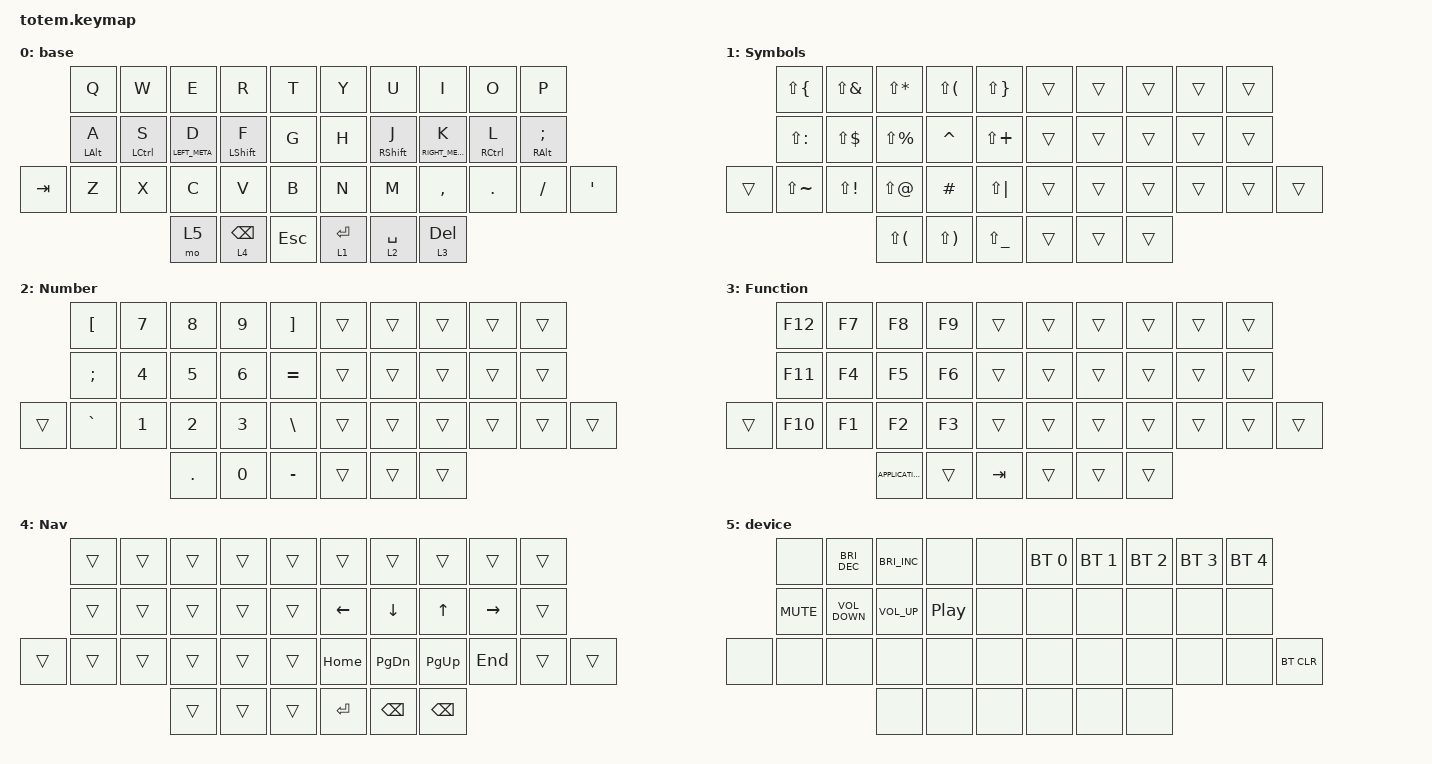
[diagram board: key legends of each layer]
//
//                                                        ▀▀▀▀▀     ▀▀▀▀▀          ▀▀█▀▀
//                                                        ▄▀▀▀▄  ▄  ▄▀▀▀▄  ▄  ▄▀▀▀▄  █  ▄▀▀▀▄
//                                                        █   █  █  █   █  █  █   █  █  █   █
//                                                         ▀▀▀   █   ▀▀▀   █   ▀▀▀   ▀   ▀▀▀
//                                                               █      ▄▄▄█▄▄▄    █   █  
//                                                               ▀      █  █  █     █▄█
//                                                             ▀▀▀▀▀    █  █  █      ▀
//                                                                      ▀  ▀  ▀
//
// ▄▄▄▄▄▄▄▄▄▄▄▄▄▄▄▄▄▄▄▄▄▄▄▄▄▄▄▄▄▄▄▄▄▄▄▄▄▄▄▄▄▄▄▄▄▄▄▄▄▄▄▄▄▄▄▄▄▄▄▄▄▄▄▄▄▄▄▄▄▄▄▄▄▄▄▄▄▄▄▄▄▄▄▄▄▄▄▄▄▄▄▄▄▄▄▄▄▄▄▄▄▄▄▄▄▄▄▄▄▄▄▄▄▄▄▄▄▄▄▄▄▄▄▄▄▄▄▄▄▄▄▄▄▄▄▄▄▄▄▄▄▄▄▄▄▄▄▄▄

#include <behaviors.dtsi>
#include <dt-bindings/zmk/bt.h>
#include <dt-bindings/zmk/keys.h>

/ {
    behaviors {
        mod_tap: mod_tap {
            compatible = "zmk,behavior-hold-tap";
            label = "MOD_TAP";
            bindings = <&kp>, <&kp>;

            #binding-cells = <2>;
            tapping-term-ms = <200>;
            quick-tap-ms = <150>;
            flavor = "balanced";
        };
    };

    keymap {
        compatible = "zmk,keymap";

        base {
            bindings = <
         &kp Q                &kp W             &kp E                 &kp R                  &kp T      &kp Y        &kp U                   &kp I                  &kp O             &kp P
         &mod_tap LEFT_ALT A  &mod_tap LCTRL S  &mod_tap LEFT_META D  &mod_tap LEFT_SHIFT F  &kp G      &kp H        &mod_tap RIGHT_SHIFT J  &mod_tap RIGHT_META K  &mod_tap RCTRL L  &mod_tap RIGHT_ALT SEMI
&kp TAB  &kp Z                &kp X             &kp C                 &kp V                  &kp B      &kp N        &kp M                   &kp COMMA              &kp DOT           &kp FSLH                 &kp APOS
                                                &mo 5                 &lt 4 BACKSPACE        &kp ESC    &lt 1 ENTER  &lt 2 SPACE             &lt 3 DEL
            >;
        };

        Symbols {
            bindings = <
        &kp LS(LBRC)   &kp LS(AMPS)  &kp LS(ASTRK)    &kp LS(LPAR)  &kp LS(RBRC)     &trans  &trans  &trans  &trans  &trans
        &kp LS(COLON)  &kp LS(DLLR)  &kp LS(PERCENT)  &kp CARET     &kp LS(PLUS)     &trans  &trans  &trans  &trans  &trans
&trans  &kp LS(TILDE)  &kp LS(EXCL)  &kp LS(AT)       &kp POUND     &kp LS(PIPE)     &trans  &trans  &trans  &trans  &trans  &trans
                                     &kp LS(LPAR)     &kp LS(RPAR)  &kp LS(UNDER)    &trans  &trans  &trans
            >;
        };

        Number {
            bindings = <
        &kp LBKT   &kp N7  &kp N8   &kp N9  &kp RBKT     &trans  &trans  &trans  &trans  &trans
        &kp SEMI   &kp N4  &kp N5   &kp N6  &kp EQUAL    &trans  &trans  &trans  &trans  &trans
&trans  &kp GRAVE  &kp N1  &kp N2   &kp N3  &kp BSLH     &trans  &trans  &trans  &trans  &trans  &trans
                           &kp DOT  &kp N0  &kp MINUS    &trans  &trans  &trans
            >;
        };

        Function {
            bindings = <
        &kp F12  &kp F7  &kp F8             &kp F9  &trans     &trans  &trans  &trans  &trans  &trans
        &kp F11  &kp F4  &kp F5             &kp F6  &trans     &trans  &trans  &trans  &trans  &trans
&trans  &kp F10  &kp F1  &kp F2             &kp F3  &trans     &trans  &trans  &trans  &trans  &trans  &trans
                         &kp K_APPLICATION  &trans  &kp TAB    &trans  &trans  &trans
            >;
        };

        Nav {
            bindings = <
        &trans  &trans  &trans  &trans  &trans    &trans    &trans         &trans       &trans     &trans
        &trans  &trans  &trans  &trans  &trans    &kp LEFT  &kp DOWN       &kp UP       &kp RIGHT  &trans
&trans  &trans  &trans  &trans  &trans  &trans    &kp HOME  &kp PAGE_DOWN  &kp PAGE_UP  &kp END    &trans  &trans
                        &trans  &trans  &trans    &kp RET   &kp BSPC       &kp BSPC
            >;
        };

        device {
            bindings = <
       &none       &kp C_BRIGHTNESS_DEC  &kp C_BRIGHTNESS_INC  &none             &none    &bt BT_SEL 0  &bt BT_SEL 1  &bt BT_SEL 2  &bt BT_SEL 3  &bt BT_SEL 4
       &kp K_MUTE  &kp C_VOLUME_DOWN     &kp C_VOLUME_UP       &kp C_PLAY_PAUSE  &none    &none         &none         &none         &none         &none
&none  &none       &none                 &none                 &none             &none    &none         &none         &none         &none         &none         &bt BT_CLR
                                         &none                 &none             &none    &none         &none         &none
            >;
        };
    };

    conditional_layers {
        compatible = "zmk,conditional-layers";

        device {
            if-layers = <1 5>;
            then-layer = <5>;
        };
    };
};
